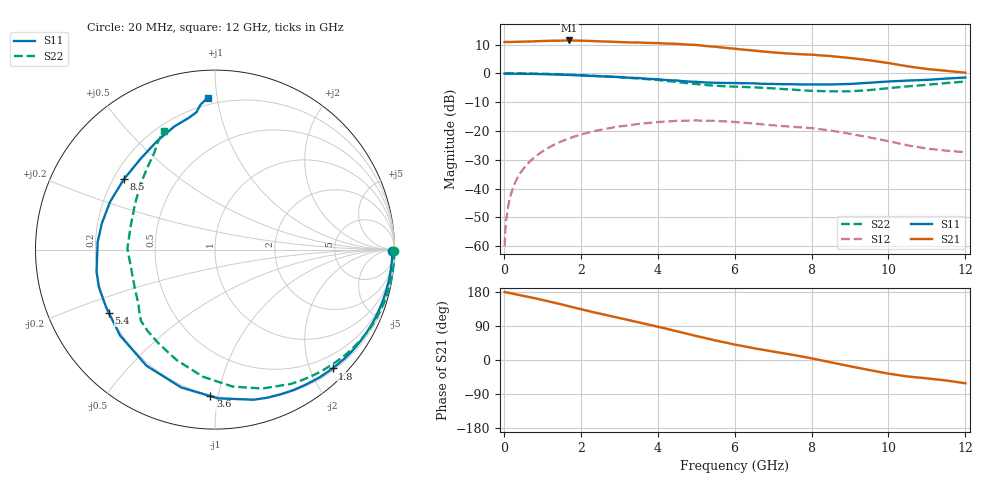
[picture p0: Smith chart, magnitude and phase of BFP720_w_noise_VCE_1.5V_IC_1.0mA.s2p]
! Infineon Technologies  Discrete & RF Semiconductors
! BFP720
! VCE =  1.5 V,  IC =  1.0 mA
! Common Emitter S-Parameters:  Aug 2012
# GHz  S  MA  R  50
!  f  S11  S21  S12  S22
! GHz  MAG  ANG  MAG  ANG  MAG  ANG  MAG  ANG
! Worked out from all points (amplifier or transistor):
!   104 points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, 20 MHz to 12 GHz, reference 50 ohm
!   highest |S21| = 11.4 dB at 1.7 GHz (marker M1)
!   |S21| within 3 dB of that: start of sweep to 6.096 GHz
!   unconditionally stable (mu >= 1): 8.688 GHz to end of sweep
!   at 350 MHz: K = 0.00, MSG = 23.7 dB, |S12| = -36.4 dB
!   at 3.7 GHz: K = 0.26, MSG = 14.0 dB, |S12| = -17.3 dB
!   at 12 GHz: K = 1.04, MAG = 12.6 dB, |S12| = -27.4 dB
!   lowest NFmin = 0.50 dB at 450 MHz
!   S11 on the Smith chart (normalised r, x): 20 MHz: open; 1.8 GHz: 0.24, -2.38; 3.6 GHz: 0.19, -0.95; 5.4 GHz: 0.20, -0.27; 8.5 GHz: 0.24, +0.32; 12 GHz: 0.16, +0.94
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0.02  0.9868 -0.5  3.502 179.3  0.001 90.1  0.9997 -0.4
0.05  0.9874 -1.1  3.506 178.6  0.0024 89.4  0.9986 -1.0
0.12  0.9875 -2.8  3.504 177.4  0.0052 89.1  0.9995 -2.3
0.25  0.9862 -5.8  3.524 174.6  0.0108 86.1  0.9992 -4.8
0.4  0.9842 -9.3  3.547 171.6  0.0174 83.2  0.9962 -7.7
1.1  0.9656 -26.6  3.656 156.2  0.0485 69.7  0.9796 -21.8
1.7  0.9365 -42.6  3.723 141.6  0.0745 57.0  0.9472 -34.3
1.8  0.9314 -45.3  3.714 139.1  0.0786 54.7  0.941 -36.4
2.1  0.9131 -53.1  3.67 131.7  0.0901 48.2  0.9203 -42.6
2.8  0.8748 -70.7  3.538 115.3  0.1137 33.6  0.8727 -56.7
3.6  0.8168 -91.8  3.405 97.1  0.1342 17.3  0.8055 -73.4
4.1  0.7776 -107.0  3.322 85.5  0.144 7.2  0.7551 -85.0
4.5  0.7514 -120.5  3.253 75.8  0.1502 -1.1  0.7112 -95.4
5  0.7132 -137.9  3.111 63.3  0.1523 -11.8  0.6521 -109.0
5.4  0.6887 -149.1  2.928 54.0  0.1501 -19.8  0.6166 -118.4
6.1  0.6773 -163.6  2.634 39.0  0.1415 -32.5  0.5844 -131.1
7  0.6551 176.3  2.312 22.2  0.1251 -45.3  0.5486 -140.1
8  0.6424 155.5  2.109 4.4  0.112 -57.5  0.4965 -154.0
8.5  0.6415 142.4  1.993 -6.1  0.1018 -64.9  0.4881 179.3
9.5  0.6863 117.9  1.686 -26.4  0.0774 -74.0  0.5116 150.9
10.5  0.7481 101.3  1.324 -43.5  0.0562 -75.7  0.5945 129.1
12  0.8465 92.8  1.026 -61.4  0.0427 -63.5  0.7213 113.4
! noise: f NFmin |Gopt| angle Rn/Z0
0.45  0.5  0.77  6  0.47
1.8  0.64  0.73  31  0.38
2.4  0.76  0.64  82  0.29
5.5  1.17  0.53  99  0.14
10  1.87  0.55  -118  0.28
